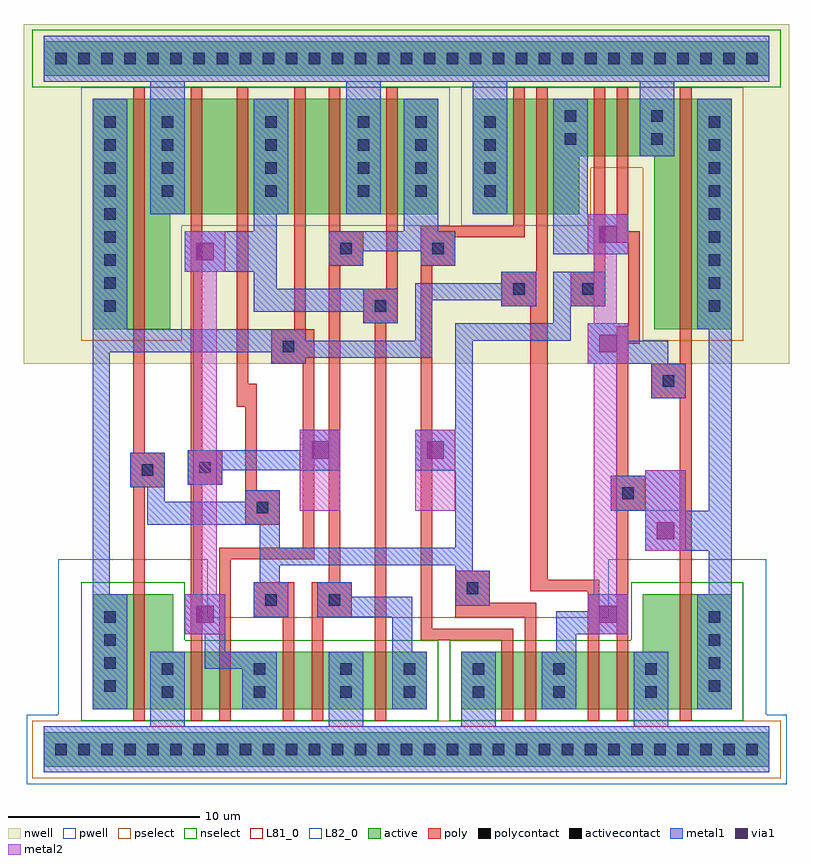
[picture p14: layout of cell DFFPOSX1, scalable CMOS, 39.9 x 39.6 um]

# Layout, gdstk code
import gdstk
lib = gdstk.Library(unit=1e-6, precision=1e-09)
def R(c, l, rs):  # rectangles x0, y0, x1, y1
    for r in rs: c.add(gdstk.rectangle(r[:2], r[2:], *l))
def A(c, l, x, y, w, h, nx, ny, dx, dy):  # array of equal rectangles
    R(c, l, [(x+i*dx, y+j*dy, x+i*dx+w, y+j*dy+h) for i in range(nx) for j in range(ny)])
pwell = (41, 0)
nwell = (42, 0)
active = (43, 0)
pselect = (44, 0)
nselect = (45, 0)
poly = (46, 0)
polycontact = (47, 0)
activecontact = (48, 0)
metal1 = (49, 0)
via1 = (50, 0)
metal2 = (51, 0)
L81_0 = (81, 0)
L82_0 = (82, 0)

dffposx1 = lib.new_cell('DFFPOSX1')
R(dffposx1, pwell, [(-1.8,-1.8,37.8,1.8), (-0.15,1.8,36.75,6.9), (-0.15,6.9,7.65,9.9), (28.5,6.9,36.75,9.9)])
R(dffposx1, nwell, [(-1.95,20.1,37.95,37.8)])
R(dffposx1, active, [(-0.9,-0.9,36.9,0.9), (1.65,2.1,19.05,5.1), (20.85,2.1,34.95,5.1), (1.65,5.1,5.85,8.1), (30.3,5.1,34.95,8.1), (1.65,21.9,5.7,27.9), (30.9,21.9,34.95,30.9), (1.65,27.9,19.65,33.9), (21.45,27.9,27,30.9), (21.45,30.9,34.95,33.9), (-0.9,35.1,36.9,36.9)])
R(dffposx1, pselect, [(-1.5,-1.5,37.5,1.5), (1.05,21.3,6.3,27.3), (30.3,21.3,35.55,30.3), (1.05,27.3,20.25,34.5), (20.85,27.3,27.6,30.3), (20.85,30.3,35.55,34.5)])
R(dffposx1, nselect, [(1.05,1.5,19.65,5.7), (20.25,1.5,35.55,5.7), (1.05,5.7,6.45,8.7), (29.7,5.7,35.55,8.7), (-1.5,34.5,37.5,37.5)])
R(dffposx1, poly, [(3.75,1.5,4.35,13.65), (6.75,1.5,7.35,13.8), (8.25,1.5,8.85,9.9), (11.55,1.5,12.15,6.9), (13.05,1.5,13.65,6.9), (16.35,1.5,16.95,22.2), (22.95,1.5,23.55,5.7), (24.15,1.5,24.75,6.9), (27.45,1.5,28.05,8.25), (28.95,1.5,29.55,12.45), (32.25,1.5,32.85,18.3), (18.75,5.7,23.55,6.3), (18.75,6.3,19.35,25.2), (10.05,6.9,12.15,8.7), (13.05,6.9,15.15,8.7), (20.55,6.9,24.75,7.65), (20.55,7.65,22.35,9.3), (24.45,8.25,28.05,8.85), (13.95,8.7,14.55,25.2), (24.45,8.85,25.35,23.1), (8.25,9.9,13.2,10.5), (12.6,10.5,13.2,20.1), (9.6,11.7,11.4,13.5), (28.65,12.45,30.45,14.25), (9.6,13.5,10.2,17.85), (3.6,13.65,5.4,15.45), (6.6,13.8,8.4,15.6), (28.95,14.25,29.55,21.15), (3.75,15.45,4.35,34.5), (6.75,15.6,7.35,34.5), (9.15,17.85,10.2,19.05), (30.75,18.3,32.85,20.1), (9.15,19.05,9.75,34.5), (10.95,20.1,13.2,21.9), (32.25,20.1,32.85,34.5), (28.95,21.15,30.15,22.05), (12.15,21.9,12.75,34.5), (29.55,22.05,30.15,26.4), (15.75,22.2,17.55,24), (22.95,23.1,25.35,24.9), (26.55,23.1,28.35,24.9), (16.95,24,17.55,34.5), (24.75,24.9,25.35,34.5), (27.75,24.9,28.35,34.5), (13.95,25.2,15.75,27), (18.75,25.2,20.55,26.7), (28.95,26.4,30.15,27), (18.75,26.7,24.15,27.3), (13.95,27,14.55,34.5), (28.95,27,29.55,34.5), (23.55,27.3,24.15,34.5)])
R(dffposx1, polycontact, [(10.65,7.5,11.25,8.1), (13.95,7.5,14.55,8.1), (21.15,8.1,21.75,8.7), (10.2,12.3,10.8,12.9), (29.25,13.05,29.85,13.65), (4.2,14.25,4.8,14.85), (7.2,14.4,7.8,15), (31.35,18.9,31.95,19.5), (11.55,20.7,12.15,21.3), (16.35,22.8,16.95,23.4), (23.55,23.7,24.15,24.3), (27.15,23.7,27.75,24.3), (14.55,25.8,15.15,26.4), (19.35,25.8,19.95,26.4)])
A(dffposx1, activecontact, -0.3, -0.3, 0.6, 0.6, 31, 2, 1.2, 36)
A(dffposx1, activecontact, 2.25, 3, 0.6, 0.6, 1, 4, 0, 1.2)
A(dffposx1, activecontact, 33.75, 3, 0.6, 0.6, 1, 4, 0, 1.2)
A(dffposx1, activecontact, 2.25, 22.8, 0.6, 0.6, 1, 9, 0, 1.2)
A(dffposx1, activecontact, 33.75, 22.8, 0.6, 0.6, 1, 9, 0, 1.2)
A(dffposx1, activecontact, 5.25, 28.8, 0.6, 0.6, 1, 4, 0, 1.2)
A(dffposx1, activecontact, 10.65, 28.8, 0.6, 0.6, 1, 4, 0, 1.2)
A(dffposx1, activecontact, 15.45, 28.8, 0.6, 0.6, 1, 4, 0, 1.2)
A(dffposx1, activecontact, 18.45, 28.8, 0.6, 0.6, 1, 4, 0, 1.2)
A(dffposx1, activecontact, 22.05, 28.8, 0.6, 0.6, 1, 4, 0, 1.2)
R(dffposx1, activecontact, [(5.25,2.7,5.85,3.3), (10.05,2.7,10.65,3.3), (14.55,2.7,15.15,3.3), (17.85,2.7,18.45,3.3), (21.45,2.7,22.05,3.3), (25.65,2.7,26.25,3.3), (30.45,2.7,31.05,3.3), (5.25,3.9,5.85,4.5), (10.05,3.9,10.65,4.5), (14.55,3.9,15.15,4.5), (17.85,3.9,18.45,4.5), (21.45,3.9,22.05,4.5), (25.65,3.9,26.25,4.5), (30.45,3.9,31.05,4.5), (26.25,31.5,26.85,32.1), (30.75,31.5,31.35,32.1), (26.25,32.7,26.85,33.3), (30.75,32.7,31.35,33.3)])
R(dffposx1, metal1, [(-0.9,-1.2,36.9,1.2), (4.65,1.2,6.45,5.1), (13.95,1.2,15.75,5.1), (20.85,1.2,22.65,5.1), (29.85,1.2,31.65,5.1), (1.65,2.1,3.45,8.1), (9.45,2.1,11.25,4.2), (17.25,2.1,19.05,5.1), (25.05,2.1,26.85,5.1), (33.15,2.1,34.95,8.1), (7.5,4.2,11.25,5.1), (7.5,5.1,8.55,6), (17.25,5.1,18.3,6.9), (25.8,5.1,26.85,6), (6.45,6,8.55,8.1), (25.8,6,29.55,7.2), (10.05,6.9,11.85,8.7), (13.35,6.9,18.3,7.95), (27.45,7.2,29.55,8.1), (20.55,7.5,22.35,9.3), (13.35,7.95,15.15,8.7), (1.65,8.1,2.55,20.7), (33.75,8.1,34.95,10.35), (10.35,8.7,11.4,9.6), (20.55,9.3,21.45,9.6), (10.35,9.6,21.45,10.5), (30.45,10.35,34.95,12.45), (10.35,10.5,11.4,11.7), (20.55,10.5,21.45,14.55), (4.5,11.7,11.4,12.9), (28.65,12.45,32.55,14.25), (33.75,12.45,34.95,21.9), (4.5,12.9,5.4,13.65), (9.6,12.9,11.4,13.5), (3.6,13.65,5.4,15.45), (6.6,13.8,8.4,14.55), (30.45,14.25,32.55,14.55), (6.6,14.55,14.55,15.6), (18.45,14.55,21.45,16.65), (12.45,15.6,14.55,16.65), (20.55,16.65,21.45,21.3), (30.75,18.3,32.55,20.1), (10.95,20.1,12.75,20.4), (27.45,20.1,31.65,21.3), (10.95,20.4,19.35,20.7), (1.65,20.7,19.35,21.3), (1.65,21.3,12.75,21.9), (18.45,21.3,19.35,23.4), (20.55,21.3,26.55,22.2), (27.45,21.3,29.55,22.2), (1.65,21.9,3.45,33.9), (33.15,21.9,34.95,33.9), (15.75,22.2,17.55,22.8), (25.65,22.2,26.55,23.1), (10.05,22.8,17.55,24), (22.95,23.1,24.75,23.4), (25.65,23.1,28.35,24.9), (18.45,23.4,24.75,24.3), (10.05,24,11.25,24.9), (22.95,24.3,24.75,24.9), (6.45,24.9,11.25,27), (13.95,25.2,15.75,25.95), (18.75,25.2,20.55,25.95), (25.65,25.8,29.55,27.9), (13.95,25.95,20.55,27), (10.05,27,11.25,27.9), (17.85,27,19.65,33.9), (4.65,27.9,6.45,34.8), (10.05,27.9,11.85,33.9), (14.85,27.9,16.65,34.8), (21.45,27.9,23.25,34.8), (25.65,27.9,27.45,33.9), (30.15,30.9,31.95,34.8), (-0.9,34.8,36.9,37.2)])
R(dffposx1, via1, [(7.05,6.6,7.95,7.5), (28.05,6.6,28.95,7.5), (31.05,10.95,31.95,11.85), (13.05,15.15,13.95,16.05), (19.05,15.15,19.95,16.05), (28.05,20.7,28.95,21.6), (7.05,25.5,7.95,26.4), (28.05,26.4,28.95,27.3)])
R(dffposx1, metal2, [(6.45,6,8.55,8.1), (27.45,6,29.55,8.1), (6.9,8.1,8.1,24.9), (27.75,8.1,28.95,20.1), (30.45,10.35,32.55,14.55), (12.45,12.45,14.55,16.65), (18.45,12.45,20.55,16.65), (27.45,20.1,29.55,22.2), (27.75,22.2,28.95,25.8), (6.45,24.9,8.55,27), (27.45,25.8,29.55,27.9)])
R(dffposx1, L81_0, [(-0.9,-1.2,36.9,1.2), (-0.9,34.8,36.9,37.2)])
R(dffposx1, L82_0, [(12.45,12.45,14.55,14.55), (18.45,12.45,20.55,14.55), (30.45,12.45,32.55,14.55)])

lib.write_gds('DFFPOSX1.gds')
